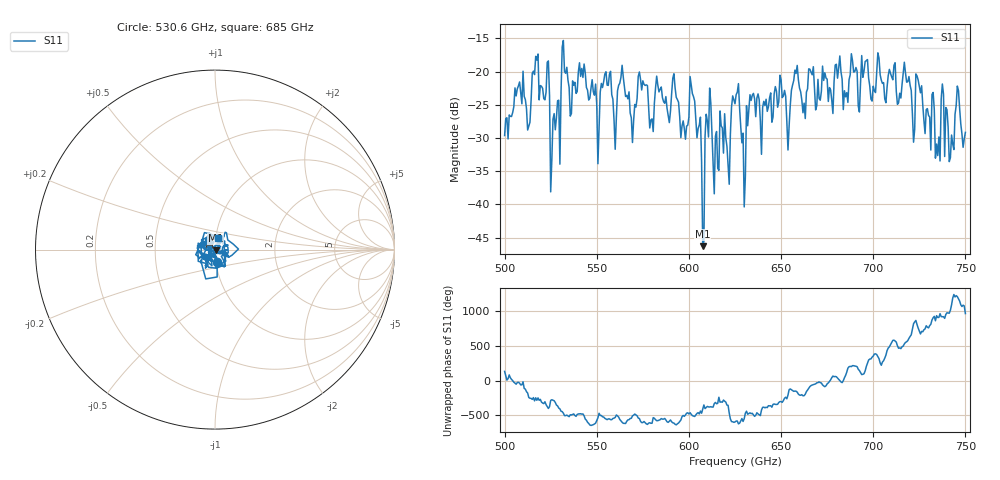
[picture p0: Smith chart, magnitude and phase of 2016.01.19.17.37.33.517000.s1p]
!Created with skrf (http://scikit-rf.org).
# GHz S RI R 50.0
!freq ReS11 ImS11
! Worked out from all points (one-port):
!   401 points, 500 GHz to 750 GHz, reference 50 ohm
!   lowest |S11| = -46.3 dB at 607.5 GHz (marker M1), VSWR 1.01, Z = 50.3 - j0.371 ohm
!   |S11| at or under -10 dB: start of sweep to end of sweep
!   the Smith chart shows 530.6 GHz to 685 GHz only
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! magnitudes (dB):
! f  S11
! 500 GHz  -29.6
! 506.9 GHz  -22.6
! 513.1 GHz  -28.2
! 516.9 GHz  -17.7
! 523.1 GHz  -18.6
! 526.2 GHz  -27.2
! 531.2 GHz  -16.3
! 550 GHz  -25.0
! 556.2 GHz  -22.1
! 559.4 GHz  -27.3
! 562.5 GHz  -21.7
! 569.4 GHz  -30.7
! 573.8 GHz  -21.2
! 579.4 GHz  -27.3
! 593.8 GHz  -24.2
! 601.9 GHz  -23.3
! 607.5 GHz  -46.3
! 610.6 GHz  -29.9
! 621.2 GHz  -34.2
! 625 GHz  -24.9
! 629.4 GHz  -29.3
! 634.4 GHz  -23.6
! 656.2 GHz  -22.0
! 687.5 GHz  -20.5
! 718.8 GHz  -21.5
! 735 GHz  -32.6
! 738.1 GHz  -23.4
! 750 GHz  -29.2
